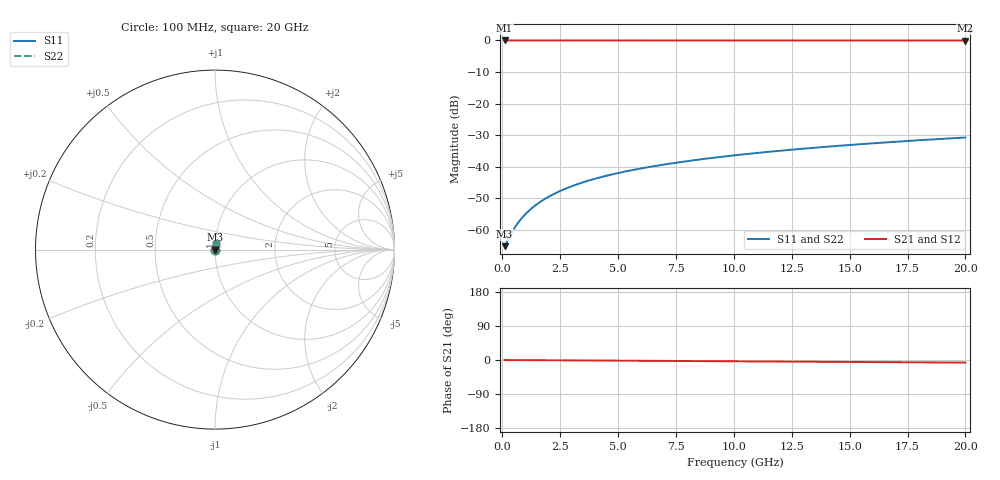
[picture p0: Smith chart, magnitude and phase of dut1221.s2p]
! Touchstone file exported from HFSS 2026.1.0
!  File:  C:/ffzhzh/LocalFiles/Ansys_Project_Files/temp_train_TSV_1221_1783193047_55132.aedt
!  Generated:  03:25:46 AM Jul  5, 2026
!  Design:  TSV
!  Project:  temp_train_TSV_1221_1783193047_55132
! Variables:
!  h_bsmrdl = 2um
!  h_ox = 20um
!  h_rdl = 5um
!  h_sub = 69.11um
!  h_tmrdl = 5um
!  h_tsv = 69.11um
!  h_via = 3um
!  l_bsmrdl = 300um
!  l_sub = 408.04um
!  l_tmrdl = 200um
!  m_sub = 200um
!  pitch = 22.93um
!  r_tsv = 4.02um
!  s_tmrdl = 10um
!  w_bsmrdl = 18um
!  w_sub = 500um
!  w_tmrdl = 12um
!  x_tsv_center1 = 206um
!  x_tsv_center2 = 524um
!  x_tsv_center3 = 736um
!  x_tsv_center4 = 1054um
!  x_tsv_center5 = 1266um
!  x_tsv_center6 = 1584um
# GHz S MA R 50.000000
! Terminal data exported
! Port[1] = TSV1_1_T1
! Port[2] = TSV1_1_T2
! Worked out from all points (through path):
!   200 points, 100 MHz to 20 GHz, reference 50 ohm
!   highest |S21| = 0.00 dB at 100 MHz (marker M1); lowest = 0.0 dB at 20 GHz (marker M2)
!   lowest |S11| = -65.1 dB at 100 MHz (marker M3), VSWR 1.00, Z = 50.1 + j0.0186 ohm
!   |S11| at or under -10 dB: start of sweep to end of sweep
!   |S22| runs from -65.1 to -30.7 dB; largest |S21 - S12| = 1.1e-15
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0.1  0.0005548 19.6  0.9995 -0.0  0.9995 -0.0  0.0005548 19.6
! Gamma 0 0 0 0
! Port Impedance 50 0 50 0
0.4  0.0009016 50.9  0.9994 -0.1  0.9994 -0.1  0.0009016 50.9
0.5  0.00104 56.0  0.9994 -0.2  0.9994 -0.2  0.00104 56.0
0.7  0.00133 63.1  0.9994 -0.2  0.9994 -0.2  0.00133 63.1
0.8  0.001479 65.6  0.9994 -0.3  0.9994 -0.3  0.001479 65.6
1  0.001784 69.3  0.9994 -0.4  0.9994 -0.4  0.001784 69.3
1.3  0.002252 72.9  0.9993 -0.5  0.9993 -0.5  0.002252 72.9
1.5  0.002567 74.5  0.9993 -0.5  0.9993 -0.5  0.002567 74.5
1.7  0.002884 75.7  0.9993 -0.6  0.9993 -0.6  0.002884 75.7
2.2  0.003675 77.7  0.9993 -0.8  0.9993 -0.8  0.003675 77.7
2.8  0.004619 78.9  0.9992 -1.0  0.9992 -1.0  0.004619 78.9
3.5  0.005704 79.6  0.9991 -1.2  0.9991 -1.2  0.005704 79.6
4.2  0.006771 80.0  0.999 -1.5  0.999 -1.5  0.006771 80.0
5  0.00797 80.2  0.9989 -1.7  0.9989 -1.7  0.00797 80.2
5.9  0.009295 80.3  0.9987 -2.1  0.9987 -2.1  0.009295 80.3
6.8  0.0106 80.3  0.9986 -2.4  0.9986 -2.4  0.0106 80.3
8.3  0.01275 80.3  0.9984 -2.9  0.9984 -2.9  0.01275 80.3
10.1  0.0153 80.2  0.9982 -3.5  0.9982 -3.5  0.0153 80.2
11.7  0.01755 80.0  0.998 -4.0  0.998 -4.0  0.01755 80.0
13.4  0.01993 79.8  0.9979 -4.6  0.9979 -4.6  0.01993 79.8
16.7  0.02453 79.2  0.9975 -5.7  0.9975 -5.7  0.02453 79.2
20  0.0291 78.5  0.9972 -6.8  0.9972 -6.8  0.0291 78.5
